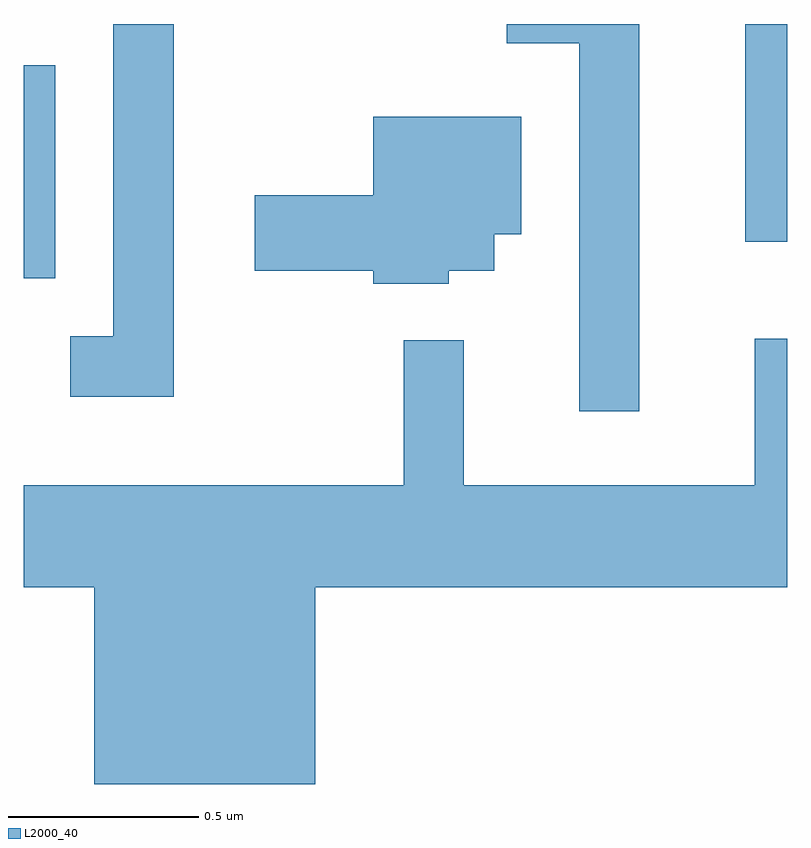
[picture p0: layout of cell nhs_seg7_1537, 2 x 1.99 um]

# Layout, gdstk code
import gdstk
lib = gdstk.Library(unit=1e-6, precision=1e-09)
def R(c, l, rs):  # rectangles x0, y0, x1, y1
    for r in rs: c.add(gdstk.rectangle(r[:2], r[2:], *l))
def P(c, l, *ps):  # polygons
    for p in ps: c.add(gdstk.Polygon(p, *l))
L2000_40 = (2000, 40)

nhs_seg7_1537 = lib.new_cell('nhs_seg7_1537')
R(nhs_seg7_1537, L2000_40, [(196.611,1699.586,196.694,1700.144), (198.501,1699.681,198.611,1700.252)])
P(nhs_seg7_1537, L2000_40, [(198.224,1700.252),(197.876,1700.252),(197.876,1700.201),(198.066,1700.201),(198.066,1699.238),(198.224,1699.238)],
  [(197.004,1700.252),(196.846,1700.252),(196.846,1699.434),(196.733,1699.434),(196.733,1699.276),(197.004,1699.276)],
  [(197.724,1699.606),(197.844,1699.606),(197.844,1699.701),(197.914,1699.701),(197.914,1700.009),(197.526,1700.009),(197.526,1699.804),(197.216,1699.804),(197.216,1699.606),(197.526,1699.606),(197.526,1699.571),(197.724,1699.571)],
  [(197.374,1698.776),(198.611,1698.776),(198.611,1699.428),(198.526,1699.428),(198.526,1699.044),(197.764,1699.044),(197.764,1699.423),(197.606,1699.423),(197.606,1699.044),(196.611,1699.044),(196.611,1698.776),(196.796,1698.776),(196.796,1698.261),(197.374,1698.261)])

lib.write_gds('nhs_seg7_1537.gds')
